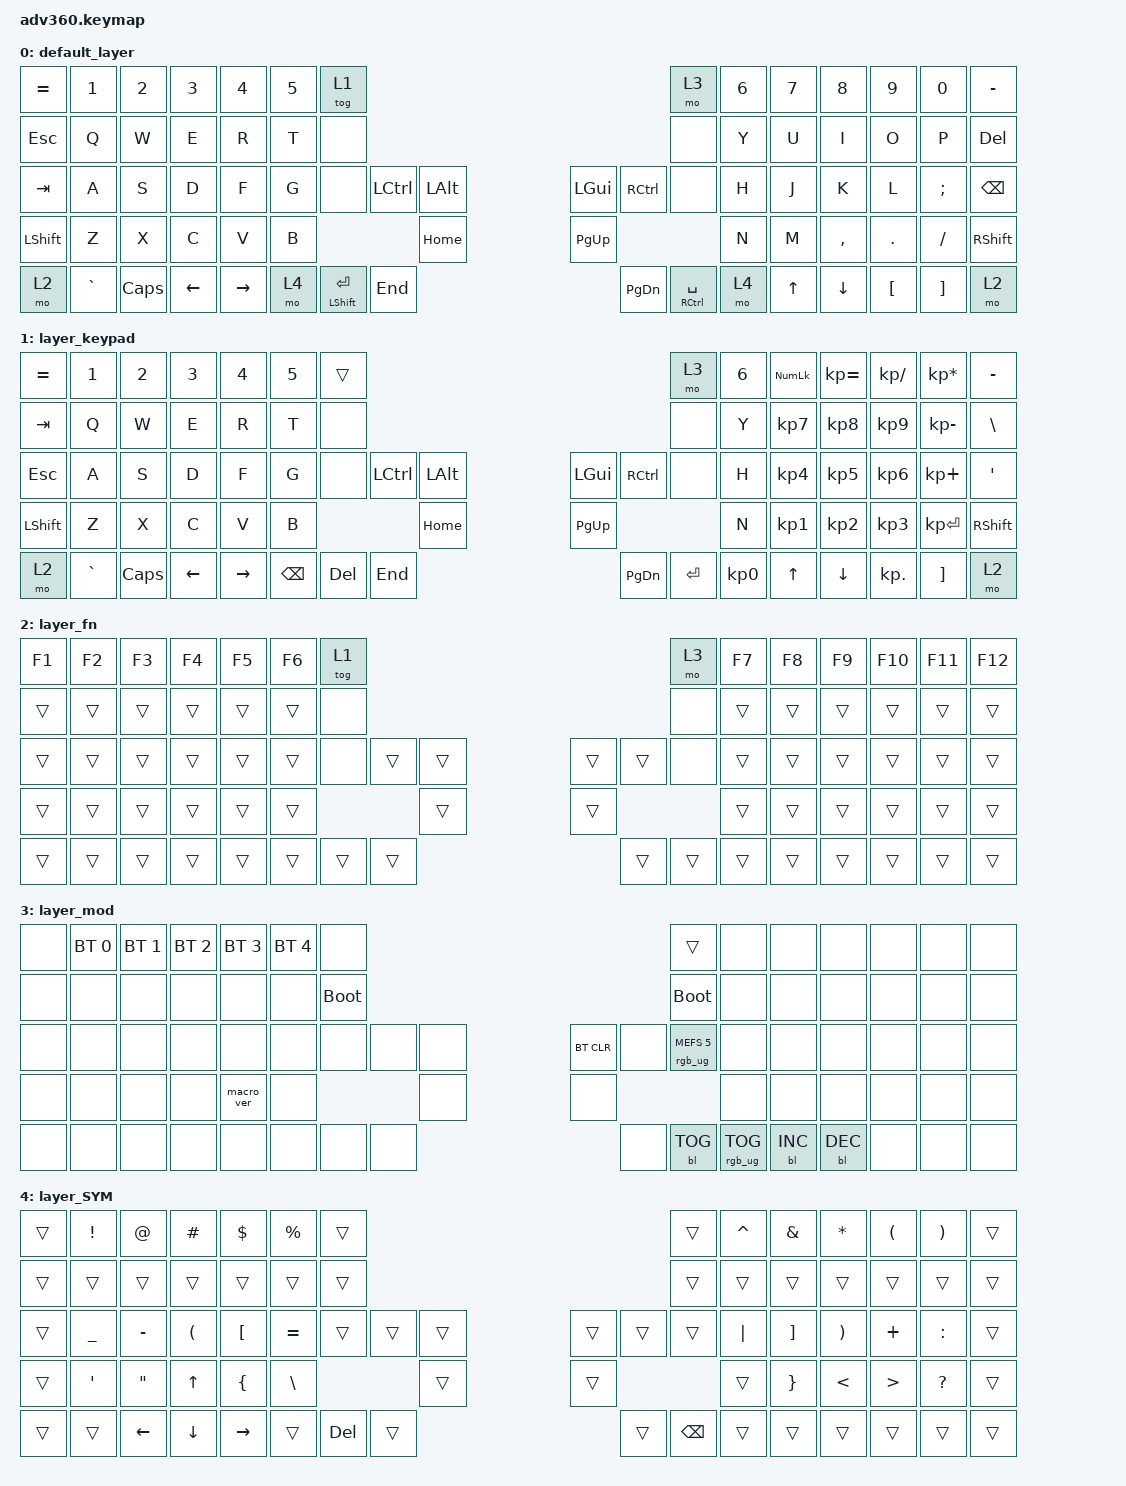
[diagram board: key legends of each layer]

/*
 * Copyright (c) 2020 The ZMK Contributors
 *
 * SPDX-License-Identifier: MIT
 */


/* THIS FILE WAS GENERATED!
 *
 * This file was generated automatically. You may or may not want to
 * edit it directly.
 */

#include <behaviors.dtsi>
#include <dt-bindings/zmk/keys.h>
#include <dt-bindings/zmk/bt.h>
#include <dt-bindings/zmk/rgb.h>
#include <dt-bindings/zmk/backlight.h>

/ {
  behaviors {
    #include "macros.dtsi"
    #include "version.dtsi"

    hm: homerow_mods {
        compatible = "zmk,behavior-hold-tap";
        label = "HOMEROW_MODS";
        #binding-cells = <2>;
        tapping-term-ms = <200>;
        quick_tap_ms = <175>;
        flavor = "tap-preferred";
        bindings = <&kp>, <&kp>;
    };
  };

    keymap {
        compatible = "zmk,keymap";


        default_layer {
            bindings = <
 &kp EQUAL     &kp N1    &kp N2    &kp N3     &kp N4  &kp N5            &tog 1                                                                                       &mo 3  &kp N6  &kp N7     &kp N8    &kp N9    &kp N0      &kp MINUS
   &kp ESC      &kp Q     &kp W     &kp E      &kp R   &kp T             &none                                                                                       &none   &kp Y   &kp U      &kp I     &kp O     &kp P     &kp DELETE
   &kp TAB      &kp A     &kp S     &kp D      &kp F   &kp G             &none             &kp LCTRL  &kp LALT                   &kp LGUI                &kp RCTRL   &none   &kp H   &kp J      &kp K     &kp L  &kp SEMI  &kp BACKSPACE
 &kp LSHFT      &kp Z     &kp X     &kp C      &kp V   &kp B                                          &kp HOME                  &kp PG_UP                                    &kp N   &kp M  &kp COMMA   &kp DOT  &kp FSLH      &kp RSHFT
     &mo 2  &kp GRAVE  &kp CAPS  &kp LEFT  &kp RIGHT                     &mo 4  &mt LEFT_SHIFT ENTER   &kp END                  &kp PG_DN  &mt RIGHT_CONTROL SPACE   &mo 4          &kp UP   &kp DOWN  &kp LBKT  &kp RBKT          &mo 2
            >;
        };

        layer_keypad {
            bindings = <
 &kp EQUAL     &kp N1    &kp N2    &kp N3     &kp N4  &kp N5              &trans                                                                 &mo 3  &kp N6  &kp KP_NUM  &kp KP_EQUAL  &kp KP_DIVIDE  &kp KP_MULTIPLY  &kp MINUS
   &kp TAB      &kp Q     &kp W     &kp E      &kp R   &kp T               &none                                                                 &none   &kp Y   &kp KP_N7     &kp KP_N8      &kp KP_N9     &kp KP_MINUS   &kp BSLH
   &kp ESC      &kp A     &kp S     &kp D      &kp F   &kp G               &none  &kp LCTRL  &kp LALT                   &kp LGUI  &kp RCTRL      &none   &kp H   &kp KP_N4     &kp KP_N5      &kp KP_N6      &kp KP_PLUS    &kp SQT
 &kp LSHFT      &kp Z     &kp X     &kp C      &kp V   &kp B                                 &kp HOME                  &kp PG_UP                         &kp N   &kp KP_N1     &kp KP_N2      &kp KP_N3     &kp KP_ENTER  &kp RSHFT
     &mo 2  &kp GRAVE  &kp CAPS  &kp LEFT  &kp RIGHT                    &kp BSPC    &kp DEL   &kp END                  &kp PG_DN  &kp ENTER  &kp KP_N0              &kp UP      &kp DOWN     &kp KP_DOT         &kp RBKT      &mo 2
            >;
        };

        layer_fn {
            bindings = <
 &kp F1  &kp F2  &kp F3  &kp F4  &kp F5  &kp F6            &tog 1                                                   &mo 3  &kp F7  &kp F8  &kp F9  &kp F10  &kp F11  &kp F12
 &trans  &trans  &trans  &trans  &trans  &trans             &none                                                   &none  &trans  &trans  &trans   &trans   &trans   &trans
 &trans  &trans  &trans  &trans  &trans  &trans             &none  &trans  &trans                  &trans  &trans   &none  &trans  &trans  &trans   &trans   &trans   &trans
 &trans  &trans  &trans  &trans  &trans  &trans                            &trans                  &trans                  &trans  &trans  &trans   &trans   &trans   &trans
 &trans  &trans  &trans  &trans  &trans                    &trans  &trans  &trans                  &trans  &trans  &trans          &trans  &trans   &trans   &trans   &trans
            >;
        };

        layer_mod {
            bindings = <
  &none  &bt BT_SEL 0  &bt BT_SEL 1  &bt BT_SEL 2  &bt BT_SEL 3  &bt BT_SEL 4                  &none                                                                          &trans   &none       &none       &none   &none   &none   &none
  &none         &none         &none         &none         &none         &none            &bootloader                                                                     &bootloader   &none       &none       &none   &none   &none   &none
  &none         &none         &none         &none         &none         &none                  &none   &none   &none                  &bt BT_CLR       &none  &rgb_ug RGB_MEFS_CMD 5   &none       &none       &none   &none   &none   &none
  &none         &none         &none         &none    &macro_ver         &none                                  &none                       &none                                       &none       &none       &none   &none   &none   &none
  &none         &none         &none         &none         &none                                &none   &none   &none                       &none  &bl BL_TOG         &rgb_ug RGB_TOG          &bl BL_INC  &bl BL_DEC   &none   &none   &none
            >;
        };

        layer_SYM {
            bindings = <
 &trans   &kp EXCLAMATION             &kp AT              &kp HASH        &kp DOLLAR    &kp PERCENT            &trans                                                          &trans  &kp CARET      &kp AMPERSAND               &kp STAR  &kp LEFT_PARENTHESIS  &kp RIGHT_PARENTHESIS  &trans
 &trans            &trans             &trans                &trans            &trans         &trans            &trans                                                          &trans     &trans             &trans                 &trans                &trans                 &trans  &trans
 &trans    &kp UNDERSCORE          &kp MINUS  &kp LEFT_PARENTHESIS  &kp LEFT_BRACKET      &kp EQUAL            &trans   &trans  &trans                  &trans         &trans  &trans   &kp PIPE  &kp RIGHT_BRACKET  &kp RIGHT_PARENTHESIS              &kp PLUS              &kp COLON  &trans
 &trans  &kp SINGLE_QUOTE  &kp DOUBLE_QUOTES          &kp UP_ARROW    &kp LEFT_BRACE  &kp BACKSLASH                             &trans                  &trans                            &trans    &kp RIGHT_BRACE          &kp LESS_THAN      &kp GREATER_THAN              &kp QMARK  &trans
 &trans            &trans     &kp LEFT_ARROW        &kp DOWN_ARROW   &kp RIGHT_ARROW                           &trans  &kp DEL  &trans                  &trans  &kp BACKSPACE  &trans                        &trans                 &trans                &trans                 &trans  &trans
            >;
        };

    };
};
